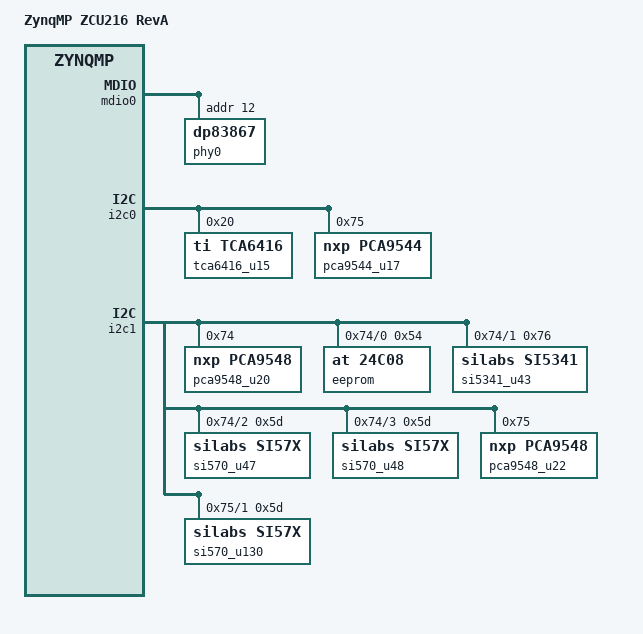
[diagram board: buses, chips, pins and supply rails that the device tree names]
/*
 * ZynqMP ZCU216 board device tree
 *
 * Copyright Advanced Micro Devices, Inc.
 *
 * SPDX-License-Identifier: BSD-3-Clause
 */

#define HAS_SMMU
#include "zynqmp.dtsh"

/dts-v1/;

#include "zynqmp-arm.dtsi"
#include "zynqmp-memory-regions.dtsi"
#include "zynqmp-boot-init.dtsi"

/ {
	model = "ZynqMP ZCU216 RevA";
	compatible = "xlnx,zynqmp-zcu216", "xlnx,zynqmp";

	amba_pl: amba_pl {
		#address-cells = <2>;
		#size-cells = <2>;
		compatible = "simple-bus";
		ranges;
	};

	aliases {
		ethernet0 = &gem3;

		main_bus_for_pl {
			compatible = "qemu:memory-region";
			container = <&amba>;
			alias = <&amba_pl>;
			priority = <0xFFFFFFFF>;
		};
	};

	mdio0: mdio {
		#address-cells = <1>;
		#size-cells = <0>;
		compatible = "mdio";
		phy0: phy@c {
			compatible = "dp83867";
			device_type = "ethernet-phy";
			reg = <0xc>;
		};
	};
};

&i2c0 {
	tca6416_u15: tca6416@20 {
		compatible = "ti,tca6416";
		reg = <0x20>;
	};

	pca9544_u17: i2cswitch@75 {
		#address-cells = <1>;
		#size-cells = <0>;
		compatible = "nxp,pca9544";
		reg = <0x75>;

		i2c@0 {
			#address-cells = <1>;
			#size-cells = <0>;
			reg = <0>;
			ina226@40 { compatible = "i2c-dev-dummy"; reg = <0x40>; };
			ina226@41 { compatible = "i2c-dev-dummy"; reg = <0x41>; };
			ina226@42 { compatible = "i2c-dev-dummy"; reg = <0x42>; };
			ina226@43 { compatible = "i2c-dev-dummy"; reg = <0x43>; };
			ina226@45 { compatible = "i2c-dev-dummy"; reg = <0x45>; };
			ina226@46 { compatible = "i2c-dev-dummy"; reg = <0x46>; };
			ina226@47 { compatible = "i2c-dev-dummy"; reg = <0x47>; };
			ina226@48 { compatible = "i2c-dev-dummy"; reg = <0x48>; };
			ina226@49 { compatible = "i2c-dev-dummy"; reg = <0x49>; };
			ina226@4a { compatible = "i2c-dev-dummy"; reg = <0x4a>; };
			ina226@4b { compatible = "i2c-dev-dummy"; reg = <0x4b>; };
			ina226@4c { compatible = "i2c-dev-dummy"; reg = <0x4c>; };
			ina226@4d { compatible = "i2c-dev-dummy"; reg = <0x4d>; };
			ina226@4e { compatible = "i2c-dev-dummy"; reg = <0x4e>; };
		};
		i2c@1 { #address-cells = <1>; #size-cells = <0>; reg = <1>; };
		i2c@2 {
			#address-cells = <1>;
			#size-cells = <0>;
			reg = <2>;
			vrm@40 { compatible = "i2c-dev-dummy"; reg = <0x40>; };
			vrm@43 { compatible = "i2c-dev-dummy"; reg = <0x43>; };
			vrm@44 { compatible = "i2c-dev-dummy"; reg = <0x44>; };
			vrm@45 { compatible = "i2c-dev-dummy"; reg = <0x45>; };
			vrm@4b { compatible = "i2c-dev-dummy"; reg = <0x4b>; };
			vrm@4c { compatible = "i2c-dev-dummy"; reg = <0x4c>; };
		};
		i2c@3 {
			#address-cells = <1>;
			#size-cells = <0>;
			reg = <3>;
			sysmon@32 { compatible = "i2c-dev-dummy"; reg = <0x32>; };
		};
	};
};

&i2c1 {
	pca9548_u20: i2cswitch@74 {
		compatible = "nxp,pca9548";
		#address-cells = <1>;
		#size-cells = <0>;
		reg = <0x74>;

		i2c@0 {
			#address-cells = <1>;
			#size-cells = <0>;
			reg = <0>;
			eeprom@54 { compatible = "at,24c08"; reg = <0x54>; };
		};
		i2c@1 {
			#address-cells = <1>;
			#size-cells = <0>;
			reg = <1>;
			si5341_u43: clock-generator@76 {
				compatible = "silabs,si5341";
				reg = <0x76>;
			};
		};
		i2c@2 {
			#address-cells = <1>;
			#size-cells = <0>;
			reg = <2>;
			si570_u47: clock-generator@5d {
				compatible = "silabs,si57x";
				reg = <0x5d>;
			};
		};
		i2c@3 {
			#address-cells = <1>;
			#size-cells = <0>;
			reg = <3>;
			si570_u48: clock-generator@5d {
				compatible = "silabs,si57x";
				reg = <0x5d>;
			};
		};
		i2c@4 {
			#address-cells = <1>;
			#size-cells = <0>;
			reg = <4>;
			clock@58 { compatible = "i2c-dev-dummy"; reg = <0x58>; };
		};
		i2c@5 {
			#address-cells = <1>;
			#size-cells = <0>;
			reg = <5>;
			clk104@2f { compatible = "i2c-dev-dummy"; reg = <0x2f>; };
		};
		i2c@6 { #address-cells = <1>; #size-cells = <0>; reg = <6>; };
		i2c@7 { #address-cells = <1>; #size-cells = <0>; reg = <7>; };
	};

	pca9548_u22: i2cswitch@75 {
		compatible = "nxp,pca9548";
		#address-cells = <1>;
		#size-cells = <0>;
		reg = <0x75>;

		i2c@0 { #address-cells = <1>; #size-cells = <0>; reg = <0>; };
		i2c@1 {
			#address-cells = <1>;
			#size-cells = <0>;
			reg = <1>;
			si570_u130: clock-generator@5d {
				compatible = "silabs,si57x";
				reg = <0x5d>;
			};
		};
		i2c@2 {
			#address-cells = <1>;
			#size-cells = <0>;
			reg = <2>;
			sysmon@32 { compatible = "i2c-dev-dummy"; reg = <0x32>; };
		};
		i2c@3 {
			#address-cells = <1>;
			#size-cells = <0>;
			reg = <3>;
			dev@51 { compatible = "i2c-dev-dummy"; reg = <0x51>; };
		};
		i2c@4 {
			#address-cells = <1>;
			#size-cells = <0>;
			reg = <4>;
			sfp3@50 { compatible = "i2c-dev-dummy"; reg = <0x50>; };
		};
		i2c@5 {
			#address-cells = <1>;
			#size-cells = <0>;
			reg = <5>;
			sfp2@50 { compatible = "i2c-dev-dummy"; reg = <0x50>; };
		};
		i2c@6 {
			#address-cells = <1>;
			#size-cells = <0>;
			reg = <6>;
			sfp1@50 { compatible = "i2c-dev-dummy"; reg = <0x50>; };
		};
		i2c@7 {
			#address-cells = <1>;
			#size-cells = <0>;
			reg = <7>;
			sfp0@50 { compatible = "i2c-dev-dummy"; reg = <0x50>; };
		};
	};
};

&ps7_qspi_0 {
	SPI_FLASH(qspi_flash_lcs_lb, "mt25qu02g", 0x10000000, 0x0 0x0)
	SPI_FLASH(qspi_flash_ucs_ub, "mt25qu02g", 0x10000000, 0x3 0x1)
};

&ps7_spi_0 {
	/delete-node/ spi0_flash0@0;
	/delete-node/ spi0_flash1@0;
	/delete-node/ spi0_flash2@0;
	/delete-node/ spi0_flash3@0;
};

&ps7_spi_1 {
	/delete-node/ spi1_flash0@0;
	/delete-node/ spi1_flash1@0;
	/delete-node/ spi1_flash2@0;
	/delete-node/ spi1_flash3@0;
};

&gem3 {
	mdio = <&mdio0>;
};

&iou_slcr_0 {
	mio-bank0-1.8v = <1>;
	mio-bank1-1.8v = <1>;
	mio-bank2-1.8v = <1>;
};
